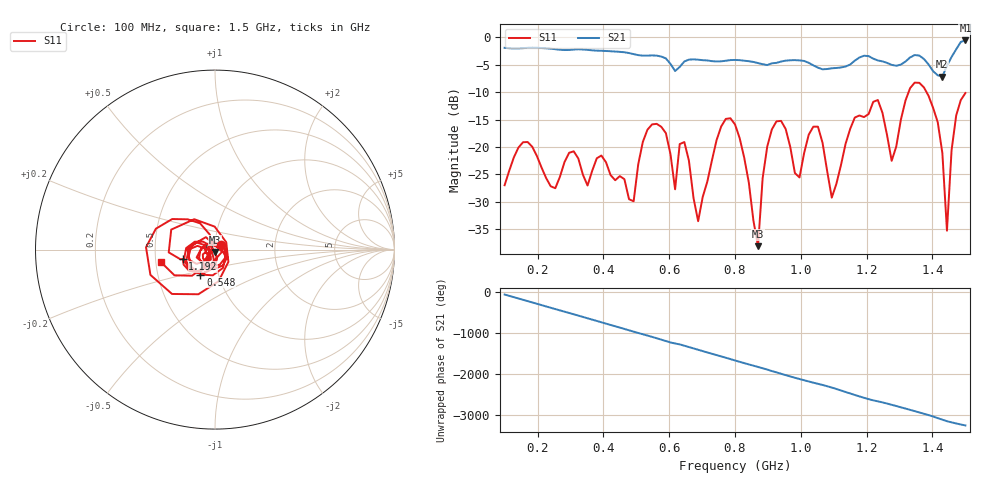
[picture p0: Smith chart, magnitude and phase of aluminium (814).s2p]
! NanoVNA-App
! Date: 2025-09-25 15:01:37
! Start: 100MHz Stop: 1,5GHz Points: 101
! S-Parameter data: F S11 S21 S12 S22
# Hz S RI R 50
!  Frequency  S11_Real  S11_Imag  S21_Real  S21_Imag  S12_Real  S12_Imag  S22_Real  S22_Imag
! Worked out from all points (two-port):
!   101 points, 100 MHz to 1.5 GHz, reference 50 ohm
!   highest |S21| = -0.58 dB at 1.5 GHz (marker M1); lowest = -7.1 dB at 1.43 GHz (marker M2)
!   |S21| within 3 dB of the highest: start of sweep to 578.9 MHz; 1.458 GHz to end of sweep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
!   lowest |S11| = -38.1 dB at 870 MHz (marker M3), VSWR 1.03, Z = 50 - j1.25 ohm
!   |S11| at or under -10 dB: start of sweep to 1.327 GHz; 1.382 GHz to end of sweep
!   S12 and S22 are empty: the file has one direction only
!   S11 on the Smith chart (normalised r, x): 100 MHz: 1.07, +0.06; 548 MHz: 0.82, -0.23; 1.192 GHz: 0.69, -0.07; 1.5 GHz: 0.53, -0.08
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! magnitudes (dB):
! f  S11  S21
! 100 MHz  -27.0  -1.9
! 156 MHz  -19.1  -2.0
! 338 MHz  -25.1  -2.2
! 492 MHz  -29.9  -3.1
! 548 MHz  -15.9  -3.3
! 576 MHz  -16.3  -3.5
! 618 MHz  -27.7  -6.1
! 646 MHz  -19.1  -4.4
! 688 MHz  -33.5  -4.1
! 800 MHz  -15.9  -4.1
! 870 MHz  -38.1  -4.7
! 912 MHz  -16.8  -4.7
! 996 MHz  -25.5  -4.2
! 1.038 GHz  -16.3  -5.1
! 1.094 GHz  -29.2  -5.6
! 1.192 GHz  -14.5  -3.4
! 1.276 GHz  -22.5  -5.0
! 1.346 GHz  -8.3  -3.2
! 1.43 GHz  -21.1  -7.1
! 1.444 GHz  -35.2  -5.2
! 1.472 GHz  -14.3  -2.2
! 1.5 GHz  -10.2  -0.6
